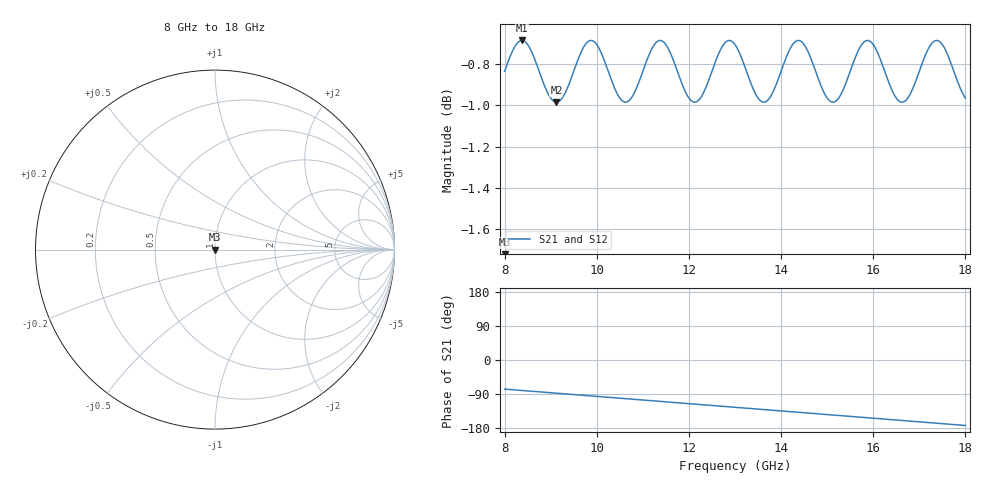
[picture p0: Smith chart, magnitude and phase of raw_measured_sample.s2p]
! Created with skrf 2.1.0 (http://scikit-rf.org).
# GHz S RI R 50.0
!freq ReS11 ImS11 ReS21 ImS21 ReS12 ImS12 ReS22 ImS22
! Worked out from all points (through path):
!   401 points, 8 GHz to 18 GHz, reference 50 ohm
!   highest |S21| = -0.68 dB at 8.375 GHz (marker M1); lowest = -1.0 dB at 9.125 GHz (marker M2)
!   group delay of S21, straight-line fit = 26.7 ps
!   lowest |S11| = - dB at 8 GHz (marker M3), VSWR 1.00, Z = 50 + j0 ohm
!   |S11| at or under -10 dB: start of sweep to end of sweep
!   |S22| runs from - to - dB; largest |S21 - S12| = 0.016
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8  0 0  0.2074 -0.8845  0.2074 -0.8845  0 0
8.375  0 0  0.1541 -0.9113  0.1515 -0.8957  0 0
9.125  0 0  0.0374 -0.8921  0.038 -0.9077  0 0
9.675  0 0  -0.0462 -0.9179  -0.0456 -0.9073  0 0
10  0 0  -0.0964 -0.9171  -0.095 -0.9035  0 0
10.65  0 0  -0.1893 -0.8727  -0.1926 -0.8878  0 0
11.35  0 0  -0.3003 -0.8741  -0.2952 -0.8592  0 0
11.55  0 0  -0.328 -0.8598  -0.3238 -0.8488  0 0
12.1  0 0  -0.3937 -0.8015  -0.4005 -0.8154  0 0
12.725  0 0  -0.4904 -0.7799  -0.4836 -0.7691  0 0
13  0 0  -0.5263 -0.7572  -0.5185 -0.746  0 0
13.575  0 0  -0.578 -0.681  -0.5878 -0.6927  0 0
14.275  0 0  -0.6754 -0.629  -0.6648 -0.6191  0 0
14.675  0 0  -0.7086 -0.5763  -0.7048 -0.5732  0 0
15.15  0 0  -0.7354 -0.5066  -0.7481 -0.5153  0 0
15.875  0 0  -0.8191 -0.4282  -0.8051 -0.4209  0 0
16.35  0 0  -0.8301 -0.3531  -0.836 -0.3555  0 0
16.7  0 0  -0.8415 -0.301  -0.8554 -0.3059  0 0
17.175  0 0  -0.8872 -0.2397  -0.877 -0.237  0 0
17.375  0 0  -0.8999 -0.2111  -0.8845 -0.2074  0 0
17.575  0 0  -0.9013 -0.1798  -0.8909 -0.1777  0 0
18  0 0  -0.8879 -0.1122  -0.9013 -0.1139  0 0
